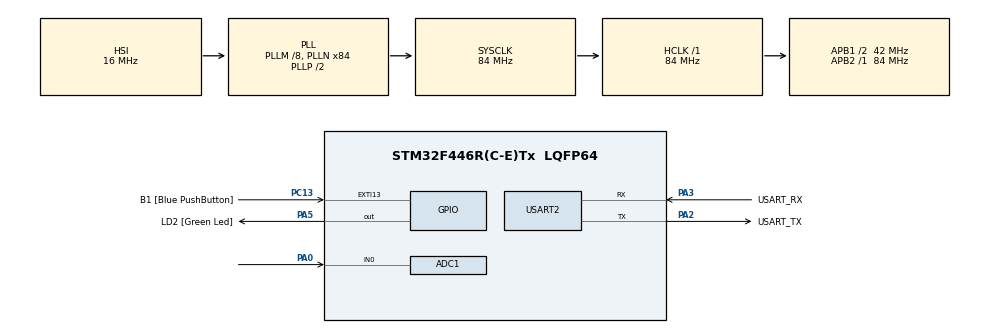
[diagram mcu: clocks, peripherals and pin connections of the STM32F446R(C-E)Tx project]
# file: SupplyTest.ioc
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Mcu.Family=STM32F4
PH0-OSC_IN.Signal=RCC_OSC_IN
RCC.CortexFreq_Value=84000000
ADC1.ContinuousConvMode=DISABLE
Dma.USART2_TX.1.MemInc=DMA_MINC_ENABLE
PA14.GPIO_Label=TCK
PC13.GPIO_Label=B1 [Blue PushButton]
RCC.SYSCLKSource=RCC_SYSCLKSOURCE_PLLCLK
ProjectManager.StackSize=0x400
Dma.USART2_RX.0.Priority=DMA_PRIORITY_LOW
Dma.USART2_RX.0.PeriphDataAlignment=DMA_PDATAALIGN_BYTE
RCC.HCLKFreq_Value=84000000
RCC.APB2TimFreq_Value=84000000
Dma.USART2_TX.1.Mode=DMA_NORMAL
RCC.AHBFreq_Value=84000000
PH0-OSC_IN.Mode=HSE-External-Oscillator
ADC1.Channel-0\#ChannelRegularConversion=ADC_CHANNEL_0
RCC.HSE_VALUE=8000000
ADC1.ScanConvMode=DISABLE
Dma.USART2_RX.0.MemDataAlignment=DMA_MDATAALIGN_BYTE
PC14-OSC32_IN.Mode=LSE-External-Oscillator
PA14.Mode=Serial_Wire
Dma.USART2_TX.1.Instance=DMA1_Stream6
Dma.USART2_RX.0.Instance=DMA1_Stream5
SH.ADCx_IN0.0=ADC1_IN0,IN0
ADC1.SamplingTime-0\#ChannelRegularConversion=ADC_SAMPLETIME_480CYCLES
RCC.FLatency-AdvancedSettings=FLASH_LATENCY_2
PH1-OSC_OUT.Mode=HSE-External-Oscillator
Mcu.Package=LQFP64
Dma.USART2_RX.0.PeriphInc=DMA_PINC_DISABLE
USART2.VirtualMode=VM_ASYNC
Dma.USART2_RX.0.FIFOMode=DMA_FIFOMODE_DISABLE
PA2.GPIO_Label=USART_TX
USART2.WordLength=WORDLENGTH_8B
Dma.Request1=USART2_TX
RCC.APB1TimFreq_Value=84000000
NVIC.DMA1_Stream6_IRQn=true\:0\:0\:false\:false\:true\:false\:true
Dma.Request0=USART2_RX
PA3.Signal=USART2_RX
PB3.GPIO_Label=SWO
PC15-OSC32_OUT.Mode=LSE-External-Oscillator
Dma.USART2_TX.1.Priority=DMA_PRIORITY_LOW
ADC1.Rank-0\#ChannelRegularConversion=1
Dma.USART2_TX.1.FIFOMode=DMA_FIFOMODE_DISABLE
PC13.Signal=GPXTI13
Dma.USART2_RX.0.Direction=DMA_PERIPH_TO_MEMORY
RCC.APB1CLKDivider=RCC_HCLK_DIV2
PC14-OSC32_IN.Signal=RCC_OSC32_IN
Dma.USART2_TX.1.PeriphDataAlignment=DMA_PDATAALIGN_BYTE
NVIC.USART2_IRQn=true\:0\:0\:false\:false\:true\:true\:true
PA0-WKUP.Signal=ADCx_IN0
Dma.USART2_RX.0.Mode=DMA_NORMAL
PA13.Signal=SYS_JTMS-SWDIO
PA3.Mode=Asynchronous
ProjectManager.TargetToolchain=STM32CubeIDE
NVIC.DMA1_Stream5_IRQn=true\:0\:0\:false\:false\:true\:false\:true
RCC.USBFreq_Value=84000000
PC15-OSC32_OUT.Signal=RCC_OSC32_OUT
PA5.Signal=GPIO_Output
Dma.USART2_TX.1.PeriphInc=DMA_PINC_DISABLE
board=NUCLEO-F446RE
RCC.VCOOutputFreq_Value=168000000
Dma.USART2_TX.1.Direction=DMA_MEMORY_TO_PERIPH
RCC.APB2Freq_Value=84000000
PH1-OSC_OUT.Signal=RCC_OSC_OUT
ADC1.DMAContinuousRequests=DISABLE
PA13.Mode=Serial_Wire
Mcu.Name=STM32F446R(C-E)Tx
Dma.USART2_RX.0.MemInc=DMA_MINC_ENABLE
PA13.GPIO_Label=TMS
PA2.Signal=USART2_TX
RCC.48MHZClocksFreq_Value=84000000
PB3.Signal=SYS_JTDO-SWO
RCC.SYSCLKFreq_VALUE=84000000
ADC1.master=1
PA5.GPIO_Label=LD2 [Green Led]
PC13.GPIO_ModeDefaultEXTI=GPIO_MODE_IT_FALLING
PA14.Signal=SYS_JTCK-SWCLK
ProjectManager.HeapSize=0x200
RCC.HSI_VALUE=16000000
NVIC.PriorityGroup=NVIC_PRIORITYGROUP_0
ADC1.NbrOfConversionFlag=1
RCC.PLLM=8
RCC.PLLN=84
PA2.Mode=Asynchronous
Dma.USART2_TX.1.MemDataAlignment=DMA_MDATAALIGN_BYTE
RCC.APB1Freq_Value=42000000
ADC1.ClockPrescaler=ADC_CLOCK_SYNC_PCLK_DIV8
PA3.GPIO_Label=USART_RX

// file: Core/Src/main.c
/* USER CODE BEGIN Header */
/**
  ******************************************************************************
  * @file           : main.c
  * @brief          : Main program body
  ******************************************************************************
  * @attention
  *
  * <h2><center>&copy; Copyright (c) 2021 STMicroelectronics.
  * All rights reserved.</center></h2>
  *
  * This software component is licensed by ST under BSD 3-Clause license,
  * the "License"; You may not use this file except in compliance with the
  * License. You may obtain a copy of the License at:
  *                        opensource.org/licenses/BSD-3-Clause
  *
  ******************************************************************************
  */
/* USER CODE END Header */
#include "main.h"
#include <stdbool.h>
#include <stdio.h>

ADC_HandleTypeDef hadc1;

UART_HandleTypeDef huart2;
DMA_HandleTypeDef hdma_usart2_rx;
DMA_HandleTypeDef hdma_usart2_tx;

void SystemClock_Config(void);
static void MX_GPIO_Init(void);
static void MX_DMA_Init(void);
static void MX_USART2_UART_Init(void);
static void MX_ADC1_Init(void);

/* USER CODE BEGIN 0 */
char Received[5];
char Transmit[4];
bool MeasurementStart = false;
uint8_t counterConversion = -1;

uint16_t PomiarADC;
float Vsense;

const float SupplyVoltage = 3.3; // [Volts]
const float ADCResolution = 4095.0;
/* USER CODE END 0 */

int main(void)
{

  /* MCU Configuration--------------------------------------------------------*/

  /* Reset of all peripherals, Initializes the Flash interface and the Systick. */
  HAL_Init();

  /* Configure the system clock */
  SystemClock_Config();

  /* Initialize all configured peripherals */
  MX_GPIO_Init();
  MX_DMA_Init();
  MX_USART2_UART_Init();
  MX_ADC1_Init();
  /* USER CODE BEGIN 2 */
  HAL_UART_Receive_DMA(&huart2, Received, 5);
  HAL_ADC_Start(&hadc1);
  /* USER CODE END 2 */

  /* Infinite loop */
  while (1)
  {
	  if (MeasurementStart == true)
	  {
		  counterConversion++;
		  if (HAL_ADC_PollForConversion(&hadc1, 10) == HAL_OK)
		  {
			PomiarADC = HAL_ADC_GetValue(&hadc1);// Pobranie zmierzonej wartosci
			Vsense = (SupplyVoltage*PomiarADC)/ADCResolution;// Przeliczenie wartosci zmierzonej na napiecie

			int size = snprintf(0, 0, "%.2f", Vsense); // float to string
			char s[size + 1];
			snprintf(s, sizeof(s), "%.2f", Vsense);
			HAL_UART_Transmit(&huart2, s, sizeof(s), 10);
		    HAL_UART_Transmit(&huart2, "\r\n", 4, 10);
		    HAL_UART_Transmit(&huart2, 83, 4, 10);

			HAL_Delay(500);
			HAL_ADC_Start(&hadc1);
		  }

		  if (counterConversion == 5)
		  {
			  MeasurementStart = false;
			  HAL_ADC_Stop(&hadc1);
		  }

	  }
  }
}

void SystemClock_Config(void)
{
  RCC_OscInitTypeDef RCC_OscInitStruct = {0};
  RCC_ClkInitTypeDef RCC_ClkInitStruct = {0};

  /** Configure the main internal regulator output voltage
  */
  __HAL_RCC_PWR_CLK_ENABLE();
  __HAL_PWR_VOLTAGESCALING_CONFIG(PWR_REGULATOR_VOLTAGE_SCALE3);
  /** Initializes the RCC Oscillators according to the specified parameters
  * in the RCC_OscInitTypeDef structure.
  */
  RCC_OscInitStruct.OscillatorType = RCC_OSCILLATORTYPE_HSI;
  RCC_OscInitStruct.HSIState = RCC_HSI_ON;
  RCC_OscInitStruct.HSICalibrationValue = RCC_HSICALIBRATION_DEFAULT;
  RCC_OscInitStruct.PLL.PLLState = RCC_PLL_ON;
  RCC_OscInitStruct.PLL.PLLSource = RCC_PLLSOURCE_HSI;
  RCC_OscInitStruct.PLL.PLLM = 8;
  RCC_OscInitStruct.PLL.PLLN = 84;
  RCC_OscInitStruct.PLL.PLLP = RCC_PLLP_DIV2;
  RCC_OscInitStruct.PLL.PLLQ = 2;
  RCC_OscInitStruct.PLL.PLLR = 2;
  if (HAL_RCC_OscConfig(&RCC_OscInitStruct) != HAL_OK)
  {
    Error_Handler();
  }
  /** Initializes the CPU, AHB and APB buses clocks
  */
  RCC_ClkInitStruct.ClockType = RCC_CLOCKTYPE_HCLK|RCC_CLOCKTYPE_SYSCLK
                              |RCC_CLOCKTYPE_PCLK1|RCC_CLOCKTYPE_PCLK2;
  RCC_ClkInitStruct.SYSCLKSource = RCC_SYSCLKSOURCE_PLLCLK;
  RCC_ClkInitStruct.AHBCLKDivider = RCC_SYSCLK_DIV1;
  RCC_ClkInitStruct.APB1CLKDivider = RCC_HCLK_DIV2;
  RCC_ClkInitStruct.APB2CLKDivider = RCC_HCLK_DIV1;

  if (HAL_RCC_ClockConfig(&RCC_ClkInitStruct, FLASH_LATENCY_2) != HAL_OK)
  {
    Error_Handler();
  }
}

static void MX_ADC1_Init(void)
{

  ADC_ChannelConfTypeDef sConfig = {0};

  /** Configure the global features of the ADC (Clock, Resolution, Data Alignment and number of conversion)
  */
  hadc1.Instance = ADC1;
  hadc1.Init.ClockPrescaler = ADC_CLOCK_SYNC_PCLK_DIV8;
  hadc1.Init.Resolution = ADC_RESOLUTION_12B;
  hadc1.Init.ScanConvMode = DISABLE;
  hadc1.Init.ContinuousConvMode = DISABLE;
  hadc1.Init.DiscontinuousConvMode = DISABLE;
  hadc1.Init.ExternalTrigConvEdge = ADC_EXTERNALTRIGCONVEDGE_NONE;
  hadc1.Init.ExternalTrigConv = ADC_SOFTWARE_START;
  hadc1.Init.DataAlign = ADC_DATAALIGN_RIGHT;
  hadc1.Init.NbrOfConversion = 1;
  hadc1.Init.DMAContinuousRequests = DISABLE;
  hadc1.Init.EOCSelection = ADC_EOC_SINGLE_CONV;
  if (HAL_ADC_Init(&hadc1) != HAL_OK)
  {
    Error_Handler();
  }
  /** Configure for the selected ADC regular channel its corresponding rank in the sequencer and its sample time.
  */
  sConfig.Channel = ADC_CHANNEL_0;
  sConfig.Rank = 1;
  sConfig.SamplingTime = ADC_SAMPLETIME_480CYCLES;
  if (HAL_ADC_ConfigChannel(&hadc1, &sConfig) != HAL_OK)
  {
    Error_Handler();
  }

}

static void MX_USART2_UART_Init(void)
{

  huart2.Instance = USART2;
  huart2.Init.BaudRate = 115200;
  huart2.Init.WordLength = UART_WORDLENGTH_8B;
  huart2.Init.StopBits = UART_STOPBITS_1;
  huart2.Init.Parity = UART_PARITY_NONE;
  huart2.Init.Mode = UART_MODE_TX_RX;
  huart2.Init.HwFlowCtl = UART_HWCONTROL_NONE;
  huart2.Init.OverSampling = UART_OVERSAMPLING_16;
  if (HAL_UART_Init(&huart2) != HAL_OK)
  {
    Error_Handler();
  }

}

static void MX_DMA_Init(void)
{

  /* DMA controller clock enable */
  __HAL_RCC_DMA1_CLK_ENABLE();

  /* DMA interrupt init */
  /* DMA1_Stream5_IRQn interrupt configuration */
  HAL_NVIC_SetPriority(DMA1_Stream5_IRQn, 0, 0);
  HAL_NVIC_EnableIRQ(DMA1_Stream5_IRQn);
  /* DMA1_Stream6_IRQn interrupt configuration */
  HAL_NVIC_SetPriority(DMA1_Stream6_IRQn, 0, 0);
  HAL_NVIC_EnableIRQ(DMA1_Stream6_IRQn);

}

static void MX_GPIO_Init(void)
{
  GPIO_InitTypeDef GPIO_InitStruct = {0};

  /* GPIO Ports Clock Enable */
  __HAL_RCC_GPIOC_CLK_ENABLE();
  __HAL_RCC_GPIOH_CLK_ENABLE();
  __HAL_RCC_GPIOA_CLK_ENABLE();
  __HAL_RCC_GPIOB_CLK_ENABLE();

  /*Configure GPIO pin Output Level */
  HAL_GPIO_WritePin(LD2_GPIO_Port, LD2_Pin, GPIO_PIN_RESET);

  /*Configure GPIO pin : B1_Pin */
  GPIO_InitStruct.Pin = B1_Pin;
  GPIO_InitStruct.Mode = GPIO_MODE_IT_FALLING;
  GPIO_InitStruct.Pull = GPIO_NOPULL;
  HAL_GPIO_Init(B1_GPIO_Port, &GPIO_InitStruct);

  /*Configure GPIO pin : LD2_Pin */
  GPIO_InitStruct.Pin = LD2_Pin;
  GPIO_InitStruct.Mode = GPIO_MODE_OUTPUT_PP;
  GPIO_InitStruct.Pull = GPIO_NOPULL;
  GPIO_InitStruct.Speed = GPIO_SPEED_FREQ_LOW;
  HAL_GPIO_Init(LD2_GPIO_Port, &GPIO_InitStruct);

}

/* USER CODE BEGIN 4 */
void HAL_UART_RxCpltCallback(UART_HandleTypeDef *huart) {

	static uint8_t Data[40]; // Tablica przechowujaca wysylana wiadomosc.

	sprintf(Data, "Odebrana wiadomosc: %s\n\r", Received);
	HAL_UART_Transmit_DMA(&huart2, Data, 40); // Rozpoczecie nadawania danych z wykorzystaniem przerwan
	//if (Received == 'START')
	//{
	//	MeasurementStart = true;
	//	HAL_GPIO_WritePin(LD2_GPIO_Port, LD2_Pin, GPIO_PIN_SET);
	//}
	MeasurementStart = true;
	HAL_UART_Receive_DMA(&huart2, Received, 5); // Ponowne włączenie nasłuchiwania
	HAL_GPIO_TogglePin(LD2_GPIO_Port, LD2_Pin);
}

/* USER CODE END 4 */

void Error_Handler(void)
{
  __disable_irq();
  while (1)
  {
  }
}

/************************ (C) COPYRIGHT STMicroelectronics *****END OF FILE****/
